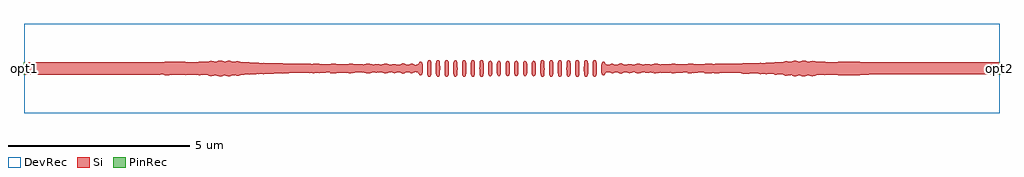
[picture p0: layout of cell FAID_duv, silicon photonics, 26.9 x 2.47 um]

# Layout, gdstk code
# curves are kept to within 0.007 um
import gdstk
lib = gdstk.Library(unit=1e-6, precision=1e-09)
def R(c, l, rs):  # rectangles x0, y0, x1, y1
    for r in rs: c.add(gdstk.rectangle(r[:2], r[2:], *l))
def P(c, l, *ps):  # polygons
    for p in ps: c.add(gdstk.Polygon(p, *l))
Si = (1, 0)
PinRec = (1, 10)
DevRec = (68, 0)

faid_duv = lib.new_cell('FAID_duv')
P(faid_duv, Si, [(-8.043,-0.221),(-8.157,-0.19),(-8.298,-0.207),(-8.405,-0.184),(-8.539,-0.19),(-8.69,-0.177),(-13.44,-0.175),(-13.44,0.175),(-8.699,0.177),(-8.53,0.19),(-8.405,0.184),(-8.298,0.207),(-8.157,0.189),(-8.036,0.22),(-7.932,0.191),(-7.791,0.216),(-7.664,0.181),(-7.558,0.198),(-7.436,0.169),(-7.295,0.177),(-7.205,0.159),(-7.064,0.163),(-6.726,0.143),(-5.539,0.124),(-5.398,0.134),(-5.275,0.121),(-5.08,0.119),(-4.896,0.133),(-4.797,0.117),(-4.664,0.123),(-4.583,0.114),(-4.434,0.133),(-4.32,0.113),(-4.195,0.122),(-4.087,0.11),(-3.964,0.134),(-3.842,0.108),(-3.717,0.12),(-3.629,0.105),(-3.478,0.137),(-3.364,0.104),(-3.232,0.124),(-3.133,0.099),(-2.993,0.138),(-2.886,0.099),(-2.841,0.103),(-2.76,0.134),(-2.654,0.094),(-2.607,0.106),(-2.548,0.176),(-2.515,0.188),(-2.484,0.166),(-2.465,0.114),(-2.465,-0.115),(-2.48,-0.16),(-2.515,-0.188),(-2.542,-0.182),(-2.602,-0.11),(-2.654,-0.094),(-2.76,-0.134),(-2.841,-0.103),(-2.886,-0.099),(-2.993,-0.138),(-3.133,-0.099),(-3.234,-0.125),(-3.364,-0.104),(-3.471,-0.136),(-3.629,-0.105),(-3.717,-0.12),(-3.832,-0.107),(-3.964,-0.134),(-4.106,-0.11),(-4.195,-0.122),(-4.32,-0.113),(-4.442,-0.133),(-4.583,-0.114),(-4.673,-0.123),(-4.796,-0.117),(-4.896,-0.133),(-5.089,-0.119),(-5.399,-0.134),(-5.539,-0.124),(-6.726,-0.143),(-7.064,-0.163),(-7.205,-0.159),(-7.3,-0.178),(-7.436,-0.169),(-7.558,-0.198),(-7.664,-0.181),(-7.791,-0.216),(-7.931,-0.191)],
  [(8.032,-0.22),(7.915,-0.19),(7.793,-0.217),(7.667,-0.181),(7.561,-0.198),(7.439,-0.17),(7.301,-0.178),(7.19,-0.158),(7.066,-0.163),(6.967,-0.15),(6.712,-0.143),(5.543,-0.124),(5.401,-0.134),(5.084,-0.119),(4.9,-0.133),(4.801,-0.117),(4.676,-0.123),(4.568,-0.114),(4.422,-0.132),(4.323,-0.113),(4.198,-0.122),(4.09,-0.11),(3.944,-0.133),(3.826,-0.107),(3.719,-0.12),(3.613,-0.105),(3.474,-0.137),(3.368,-0.105),(3.234,-0.125),(3.136,-0.099),(2.996,-0.138),(2.89,-0.099),(2.846,-0.102),(2.75,-0.132),(2.658,-0.094),(2.603,-0.11),(2.542,-0.182),(2.518,-0.188),(2.495,-0.179),(2.467,-0.126),(2.465,0.098),(2.483,0.164),(2.518,0.188),(2.551,0.173),(2.593,0.116),(2.658,0.094),(2.75,0.132),(2.868,0.099),(2.922,0.108),(2.996,0.138),(3.136,0.099),(3.241,0.124),(3.326,0.105),(3.379,0.106),(3.474,0.137),(3.623,0.105),(3.719,0.12),(3.826,0.107),(3.952,0.133),(4.1,0.11),(4.198,0.122),(4.323,0.113),(4.422,0.132),(4.568,0.114),(4.676,0.123),(4.801,0.117),(4.908,0.133),(5.084,0.119),(5.401,0.134),(5.543,0.124),(6.712,0.143),(6.951,0.149),(7.066,0.163),(7.19,0.158),(7.306,0.178),(7.429,0.169),(7.546,0.198),(7.667,0.181),(7.793,0.217),(7.915,0.19),(8.032,0.22),(8.162,0.189),(8.286,0.207),(8.41,0.184),(8.534,0.19),(8.712,0.177),(13.44,0.175),(13.44,-0.175),(8.694,-0.177),(8.534,-0.19),(8.4,-0.184),(8.294,-0.207),(8.162,-0.189)],
  [(0.597,-0.208),(0.564,-0.187),(0.546,-0.144),(0.542,0.01),(0.549,0.153),(0.567,0.19),(0.602,0.208),(0.632,0.19),(0.651,0.147),(0.656,-0.015),(0.649,-0.158),(0.622,-0.199)],
  [(0.836,-0.234),(0.806,-0.214),(0.787,-0.167),(0.782,0.027),(0.79,0.181),(0.813,0.223),(0.842,0.234),(0.869,0.219),(0.892,0.166),(0.896,-0.024),(0.887,-0.185),(0.869,-0.219)],
  [(1.081,-0.232),(1.06,-0.226),(1.035,-0.192),(1.023,-0.024),(1.031,0.181),(1.055,0.222),(1.081,0.232),(1.102,0.224),(1.128,0.181),(1.136,0.01),(1.128,-0.178),(1.102,-0.224)],
  [(1.315,-0.229),(1.284,-0.205),(1.268,-0.162),(1.266,0.134),(1.28,0.199),(1.297,0.222),(1.326,0.229),(1.355,0.208),(1.373,0.165),(1.375,-0.147),(1.348,-0.217)],
  [(1.56,-0.226),(1.525,-0.204),(1.506,-0.161),(1.501,-0.006),(1.508,0.172),(1.532,0.213),(1.56,0.226),(1.581,0.218),(1.607,0.179),(1.616,0.027),(1.608,-0.176),(1.581,-0.218)],
  [(1.793,-0.233),(1.771,-0.221),(1.745,-0.162),(1.744,0.134),(1.763,0.209),(1.783,0.229),(1.804,0.233),(1.84,0.202),(1.853,0.158),(1.853,-0.162),(1.828,-0.22)],
  [(2.039,-0.228),(2.015,-0.218),(1.99,-0.176),(1.982,-0.024),(1.987,0.165),(2.006,0.207),(2.039,0.228),(2.06,0.221),(2.088,0.179),(2.098,0.027),(2.093,-0.161),(2.068,-0.213)],
  [(2.272,-0.23),(2.241,-0.205),(2.225,-0.161),(2.224,0.157),(2.25,0.217),(2.282,0.23),(2.309,0.215),(2.33,0.165),(2.333,-0.121),(2.317,-0.201),(2.294,-0.228)],
  [(0.118,-0.208),(0.084,-0.187),(0.069,-0.157),(0.061,0.011),(0.068,0.153),(0.086,0.19),(0.123,0.208),(0.152,0.19),(0.17,0.147),(0.173,-0.134),(0.154,-0.187)],
  [(0.358,-0.208),(0.325,-0.187),(0.308,-0.144),(0.304,-0.007),(0.309,0.147),(0.328,0.19),(0.358,0.208),(0.392,0.19),(0.412,0.146),(0.417,0.01),(0.413,-0.144),(0.391,-0.192)],
  [(-2.281,-0.231),(-2.305,-0.219),(-2.329,-0.168),(-2.335,-0.007),(-2.329,0.168),(-2.307,0.217),(-2.281,0.231),(-2.255,0.222),(-2.229,0.18),(-2.221,0.027),(-2.228,-0.177),(-2.252,-0.219)],
  [(-2.042,-0.227),(-2.075,-0.204),(-2.093,-0.161),(-2.098,0.023),(-2.091,0.172),(-2.06,0.221),(-2.036,0.227),(-2.006,0.207),(-1.987,0.165),(-1.982,-0.024),(-1.99,-0.176),(-2.015,-0.218)],
  [(-1.802,-0.233),(-1.827,-0.22),(-1.851,-0.17),(-1.856,0.035),(-1.849,0.181),(-1.825,0.223),(-1.797,0.233),(-1.773,0.223),(-1.749,0.18),(-1.742,-0.024),(-1.753,-0.192),(-1.771,-0.22)],
  [(-1.557,-0.226),(-1.582,-0.217),(-1.608,-0.176),(-1.616,-0.024),(-1.61,0.172),(-1.585,0.214),(-1.557,0.226),(-1.536,0.217),(-1.508,0.172),(-1.501,0.01),(-1.508,-0.173),(-1.53,-0.211)],
  [(-1.323,-0.229),(-1.345,-0.218),(-1.371,-0.176),(-1.378,0.01),(-1.373,0.165),(-1.355,0.208),(-1.318,0.23),(-1.286,0.208),(-1.268,0.165),(-1.263,-0.015),(-1.271,-0.177),(-1.295,-0.219)],
  [(-1.079,-0.232),(-1.1,-0.225),(-1.126,-0.186),(-1.136,-0.024),(-1.131,0.165),(-1.112,0.213),(-1.079,0.232),(-1.045,0.21),(-1.031,0.179),(-1.023,0.01),(-1.027,-0.162),(-1.045,-0.21)],
  [(-0.845,-0.234),(-0.88,-0.203),(-0.892,-0.163),(-0.896,0.01),(-0.889,0.181),(-0.866,0.223),(-0.834,0.234),(-0.812,0.222),(-0.79,0.18),(-0.782,-0.024),(-0.792,-0.185),(-0.812,-0.222)],
  [(-0.6,-0.208),(-0.634,-0.187),(-0.648,-0.159),(-0.656,-0.006),(-0.648,0.159),(-0.632,0.19),(-0.6,0.208),(-0.567,0.19),(-0.549,0.154),(-0.542,0.01),(-0.55,-0.158),(-0.564,-0.187)],
  [(-0.366,-0.207),(-0.395,-0.187),(-0.413,-0.144),(-0.415,0.132),(-0.393,0.19),(-0.355,0.207),(-0.32,0.178),(-0.306,0.132),(-0.306,-0.121),(-0.325,-0.187)],
  [(-0.121,-0.208),(-0.153,-0.187),(-0.171,-0.144),(-0.175,-0.007),(-0.17,0.147),(-0.151,0.19),(-0.121,0.208),(-0.1,0.202),(-0.073,0.168),(-0.061,0.027),(-0.065,-0.143),(-0.087,-0.191)])
R(faid_duv, DevRec, [(-13.44,-1.234,13.44,1.234)])
faid_duv.add(gdstk.FlexPath([(-13.43,0),(-13.45,0)], 0.35, ends="flush", simple_path=True, layer=1, datatype=10))  # PinRec
faid_duv.add(gdstk.FlexPath([(13.43,0),(13.45,0)], 0.35, ends="flush", simple_path=True, layer=1, datatype=10))  # PinRec
faid_duv.add(gdstk.Label('opt1', (-13.44,0), layer=1, texttype=10))
faid_duv.add(gdstk.Label('opt2', (13.44,0), layer=1, texttype=10))

lib.write_gds('FAID_duv.gds')
